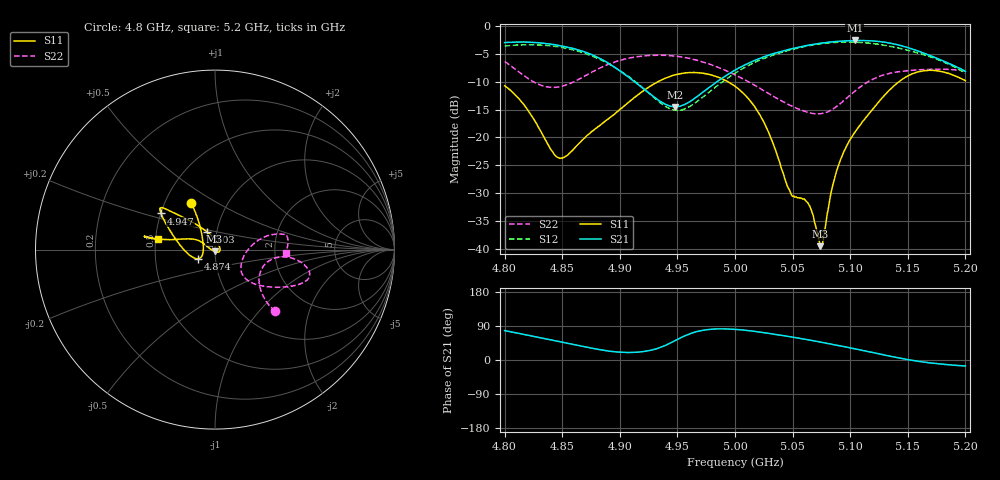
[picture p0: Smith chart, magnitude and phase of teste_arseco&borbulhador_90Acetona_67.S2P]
! Network Analyzer HP8722D
! Hewlett-Packard
! Data name: Linha & Wilkinson
! Saver's name: Rodrigo Anjos
! Comments: Teste da utilização de aquisição
! continua pelo VNA HP8722D
! Time and date: 17/4/2025 11:36
!  Frequency  S11  S21  S12  S22
# HZ  S  MA R 50
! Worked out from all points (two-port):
!   401 points, 4.8 GHz to 5.2 GHz, reference 50 ohm
!   highest |S21| = -2.59 dB at 5.104 GHz (marker M1); lowest = -14.5 dB at 4.948 GHz (marker M2)
!   |S21| within 3 dB of the highest: start of sweep to 4.88 GHz; 5.024 GHz to 5.173 GHz (148.7 MHz wide, 2.92 % of centre)
!   lowest |S11| = -39.5 dB at 5.074 GHz (marker M3), VSWR 1.02, Z = 49.7 - j1.02 ohm
!   |S11| at or under -10 dB: start of sweep to 4.933 GHz; 4.994 GHz to 5.142 GHz (148.6 MHz wide, 2.93 % of centre)
!   |S22| runs from -15.8 to -5.2 dB; largest |S21 - S12| = 1
!   S11 on the Smith chart (normalised r, x): 4.8 GHz: 0.68, +0.38; 4.874 GHz: 0.82, -0.08; 4.947 GHz: 0.50, +0.23; 5.03 GHz: 0.90, +0.18; 5.2 GHz: 0.52, +0.07
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4.8e9  0.2908 117.1  0.7106 77.5  0.6626 -16.0  0.4792 -45.8
4.818e9  0.1889 119.8  0.7182 66.5  0.6788 -24.0  0.3515 -42.5
4.845e9  0.06722 164.3  0.6759 50.1  0.6541 -36.9  0.2827 -21.3
4.867e9  0.09379 -150.6  0.5965 36.4  0.5793 -48.0  0.344 -7.5
4.874e9  0.1086 -152.0  0.5631 32.1  0.5468 -51.6  0.3768 -6.1
4.901e9  0.1815 177.5  0.3904 20.5  0.3921 -62.6  0.4944 -9.1
4.934e9  0.3201 151.0  0.2143 31.9  0.2094 -55.7  0.5466 -15.8
4.947e9  0.3627 146.3  0.1885 49.4  0.1762 -37.8  0.5378 -18.7
4.948e9  0.3642 145.8  0.1881 51.1  0.1753 -36.2  0.5356 -19.0
4.975e9  0.3723 141.3  0.2685 79.6  0.243 -2.4  0.4652 -26.3
5e9  0.2887 137.1  0.401 80.7  0.3774 3.3  0.3645 -34.6
5.017e9  0.1893 128.4  0.491 75.6  0.4706 0.3  0.2941 -40.9
5.03e9  0.1058 113.7  0.551 69.9  0.5349 -4.0  0.2447 -43.4
5.048e9  0.03227 45.2  0.6219 61.3  0.6102 -10.9  0.1939 -40.5
5.067e9  0.02106 -44.3  0.6833 51.4  0.6754 -20.3  0.1642 -26.4
5.074e9  0.01054 -103.8  0.7003 47.2  0.6918 -24.4  0.1632 -17.4
5.077e9  0.01283 -150.9  0.7086 45.6  0.6986 -26.0  0.1651 -13.1
5.089e9  0.05286 155.3  0.728 38.6  0.7162 -33.5  0.1921 2.7
5.104e9  0.1109 151.8  0.7424 29.6  0.7151 -43.0  0.2601 13.0
5.134e9  0.2655 167.8  0.7028 10.5  0.6585 -61.4  0.3755 13.3
5.164e9  0.3966 169.5  0.571 -5.6  0.5518 -74.9  0.4072 11.1
5.2e9  0.3229 169.3  0.3912 -15.9  0.3764 -84.5  0.3954 -2.6
